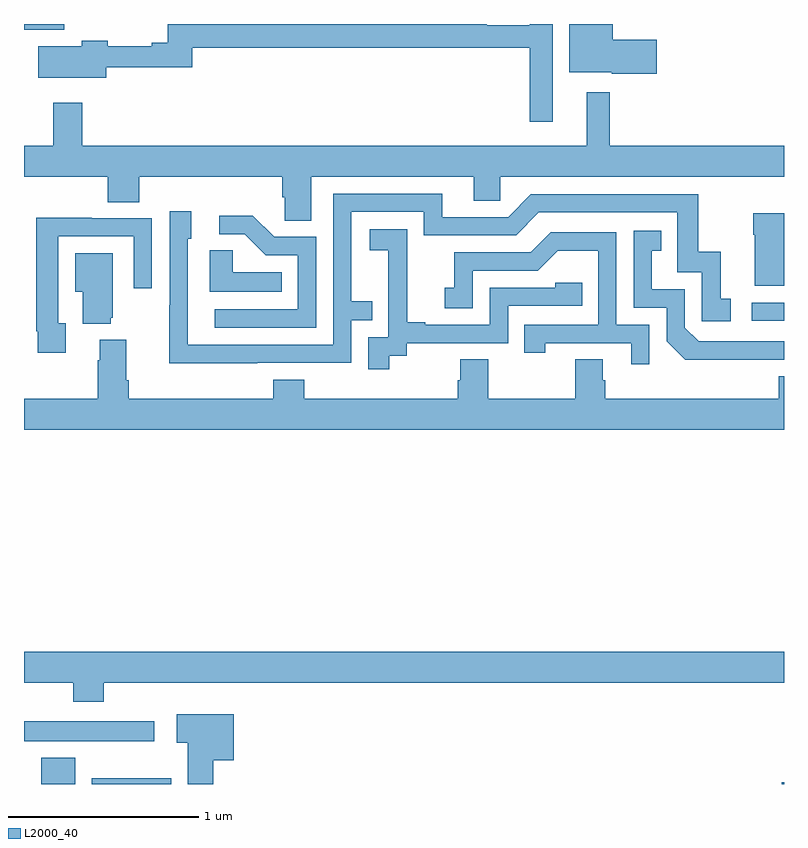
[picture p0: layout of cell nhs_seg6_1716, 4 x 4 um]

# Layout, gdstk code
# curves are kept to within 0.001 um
import gdstk
lib = gdstk.Library(unit=1e-6, precision=1e-09)
def R(c, l, rs):  # rectangles x0, y0, x1, y1
    for r in rs: c.add(gdstk.rectangle(r[:2], r[2:], *l))
def P(c, l, *ps):  # polygons
    for p in ps: c.add(gdstk.Polygon(p, *l))
L2000_40 = (2000, 40)

nhs_seg6_1716 = lib.new_cell('nhs_seg6_1716')
R(nhs_seg6_1716, L2000_40, [(215.09,917.5,215.269,917.638), (215.357,917.5,215.776,917.531), (218.987,917.5,219,917.51), (215,917.726,215.686,917.83), (218.829,919.938,219,920.034), (215,921.47,215.212,921.5)])
P(nhs_seg6_1716, L2000_40, [(217.783,921.5),(217.662,921.5),(217.662,921.493),(217.436,921.493),(217.436,921.5),(215.757,921.5),(215.757,921.401),(215.672,921.401),(215.672,921.382),(215.442,921.382),(215.442,921.412),(215.305,921.412),(215.305,921.382),(215.075,921.382),(215.075,921.218),(215.434,921.218),(215.434,921.273),(215.885,921.273),(215.885,921.376),(217.662,921.376),(217.662,920.985),(217.783,920.985)],
  [(218.329,921.416),(218.098,921.416),(218.098,921.499),(217.871,921.499),(217.871,921.245),(218.094,921.245),(218.094,921.238),(218.329,921.238)],
  [(216.511,920.696),(217.367,920.696),(217.367,920.569),(217.506,920.569),(217.506,920.696),(219,920.696),(219,920.86),(218.083,920.86),(218.083,921.142),(217.961,921.142),(217.961,920.86),(215.306,920.86),(215.306,921.085),(215.153,921.085),(215.153,920.86),(215,920.86),(215,920.696),(215.441,920.696),(215.441,920.563),(215.606,920.563),(215.606,920.696),(216.359,920.696),(216.359,920.587),(216.372,920.587),(216.372,920.464),(216.511,920.464)],
  [(216.227,919.716),(216.723,919.716),(216.723,919.941),(216.833,919.941),(216.833,920.042),(216.723,920.042),(216.723,920.511),(217.104,920.511),(217.104,920.388),(217.59,920.388),(217.71,920.508),(218.439,920.508),(218.439,920.193),(218.568,920.193),(218.568,919.935),(218.719,919.935),(218.719,920.055),(218.666,920.055),(218.666,920.302),(218.548,920.302),(218.548,920.604),(217.668,920.604),(217.548,920.484),(217.201,920.484),(217.201,920.607),(216.627,920.607),(216.627,919.812),(215.862,919.812),(215.862,920.37),(215.881,920.37),(215.881,920.515),(215.766,920.515),(215.766,920.021),(215.764,920.021),(215.764,919.715)],
  [(219,920.503),(218.839,920.503),(218.839,920.39),(218.846,920.39),(218.846,920.123),(219,920.123)],
  [(216.537,920.379),(216.318,920.379),(216.205,920.492),(216.027,920.492),(216.027,920.394),(216.161,920.394),(216.272,920.283),(216.441,920.283),(216.441,919.998),(216.003,919.998),(216.003,919.902),(216.537,919.902)],
  [(215.221,919.926),(215.181,919.926),(215.181,920.382),(215.577,920.382),(215.577,920.109),(215.673,920.109),(215.673,920.478),(215.357,920.478),(215.357,920.48),(215.065,920.48),(215.065,919.882),(215.073,919.882),(215.073,919.77),(215.221,919.77)],
  [(216.922,919.753),(217.014,919.753),(217.014,919.821),(217.548,919.821),(217.548,920.016),(217.937,920.016),(217.937,920.139),(217.797,920.139),(217.797,920.112),(217.452,920.112),(217.452,919.917),(217.111,919.917),(217.111,919.93),(217.016,919.93),(217.016,920.213),(217.017,920.213),(217.017,920.419),(216.819,920.419),(216.819,920.309),(216.917,920.309),(216.917,920.081),(216.918,920.081),(216.918,919.851),(216.813,919.851),(216.813,919.683),(216.922,919.683)],
  [(218.888,919.734),(219,919.734),(219,919.83),(218.55,919.83),(218.478,919.902),(218.478,920.103),(218.305,920.103),(218.305,920.307),(218.354,920.307),(218.354,920.413),(218.208,920.413),(218.208,920.007),(218.382,920.007),(218.382,919.83),(218.48,919.733)],
  [(218.292,919.917),(218.118,919.917),(218.118,920.403),(217.772,920.403),(217.667,920.298),(217.264,920.298),(217.264,920.113),(217.215,920.113),(217.215,920.004),(217.362,920.004),(217.362,920.202),(217.704,920.202),(217.808,920.306),(218.022,920.306),(218.022,919.917),(217.633,919.917),(217.633,919.77),(217.744,919.77),(217.744,919.821),(218.195,919.821),(218.195,919.71),(218.292,919.71)],
  [(216.356,920.194),(216.099,920.194),(216.099,920.309),(215.978,920.309),(215.978,920.09),(216.356,920.09)],
  [(215.456,919.953),(215.467,919.953),(215.467,920.293),(215.27,920.293),(215.27,920.09),(215.309,920.09),(215.309,919.922),(215.456,919.922)],
  [(219,919.645),(218.972,919.645),(218.972,919.528),(218.06,919.528),(218.06,919.626),(218.047,919.626),(218.047,919.736),(217.9,919.736),(217.9,919.528),(217.443,919.528),(217.443,919.736),(217.295,919.736),(217.295,919.626),(217.283,919.626),(217.283,919.528),(216.476,919.528),(216.476,919.627),(216.311,919.627),(216.311,919.528),(215.552,919.528),(215.552,919.624),(215.539,919.624),(215.539,919.837),(215.399,919.837),(215.399,919.73),(215.387,919.73),(215.387,919.528),(215,919.528),(215,919.364),(219,919.364)],
  [(215.42,918.032),(219,918.032),(219,918.196),(215,918.196),(215,918.032),(215.26,918.032),(215.26,917.933),(215.42,917.933)],
  [(215.996,917.624),(216.103,917.624),(216.103,917.866),(215.805,917.866),(215.805,917.717),(215.861,917.717),(215.861,917.5),(215.996,917.5)])

lib.write_gds('nhs_seg6_1716.gds')
